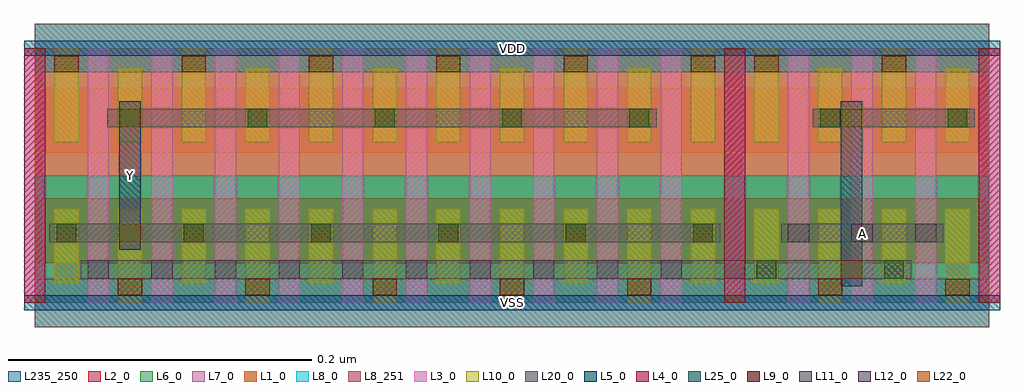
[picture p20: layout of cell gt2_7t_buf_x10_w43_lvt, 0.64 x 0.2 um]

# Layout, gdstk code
import gdstk
lib = gdstk.Library(unit=1e-6, precision=5e-10)
def R(c, l, rs):  # rectangles x0, y0, x1, y1
    for r in rs: c.add(gdstk.rectangle(r[:2], r[2:], *l))
def A(c, l, x, y, w, h, nx, ny, dx, dy):  # array of equal rectangles
    R(c, l, [(x+i*dx, y+j*dy, x+i*dx+w, y+j*dy+h) for i in range(nx) for j in range(ny)])
L1_0 = (1, 0)
L2_0 = (2, 0)
L3_0 = (3, 0)
L4_0 = (4, 0)
L5_0 = (5, 0)
L6_0 = (6, 0)
L7_0 = (7, 0)
L8_0 = (8, 0)
L8_251 = (8, 251)
L9_0 = (9, 0)
L10_0 = (10, 0)
L11_0 = (11, 0)
L12_0 = (12, 0)
L20_0 = (20, 0)
L22_0 = (22, 0)
L25_0 = (25, 0)
L235_250 = (235, 250)

gt2_7t_buf_x10_w43_lvt = lib.new_cell('gt2_7t_buf_x10_w43_lvt')
R(gt2_7t_buf_x10_w43_lvt, L1_0, [(0,0.084,0.63,0.168)])
R(gt2_7t_buf_x10_w43_lvt, L2_0, [(0,0.026,0.63,0.069), (0,0.099,0.63,0.142)])
A(gt2_7t_buf_x10_w43_lvt, L3_0, -0.007, 0, 0.014, 0.168, 16, 1, 0.042, 0)
R(gt2_7t_buf_x10_w43_lvt, L4_0, [(-0.007,0,0.007,0.168), (0.455,0,0.469,0.168), (0.623,0,0.637,0.168)])
R(gt2_7t_buf_x10_w43_lvt, L5_0, [(-0.007,-0.005,0.637,0.005), (-0.007,0.163,0.637,0.173)])
R(gt2_7t_buf_x10_w43_lvt, L6_0, [(0,0,0.63,0.084)])
R(gt2_7t_buf_x10_w43_lvt, L7_0, [(0,0.084,0.63,0.168)])
R(gt2_7t_buf_x10_w43_lvt, L8_0, [(0,-0.016,0.63,0.016), (0,0.152,0.63,0.184)])
R(gt2_7t_buf_x10_w43_lvt, L8_251, [(0,-0.016,0.63,0.016), (0,0.152,0.63,0.184)])
A(gt2_7t_buf_x10_w43_lvt, L9_0, 0.055, 0.005, 0.016, 0.011, 5, 1, 0.084, 0)
A(gt2_7t_buf_x10_w43_lvt, L9_0, 0.013, 0.152, 0.016, 0.011, 6, 1, 0.084, 0)
R(gt2_7t_buf_x10_w43_lvt, L9_0, [(0.517,0.005,0.533,0.016), (0.601,0.005,0.617,0.016), (0.475,0.152,0.491,0.163), (0.559,0.152,0.575,0.163)])
A(gt2_7t_buf_x10_w43_lvt, L10_0, 0.055, 0, 0.016, 0.062, 5, 1, 0.084, 0)
A(gt2_7t_buf_x10_w43_lvt, L10_0, 0.013, 0.013, 0.016, 0.049, 6, 1, 0.084, 0)
A(gt2_7t_buf_x10_w43_lvt, L10_0, 0.013, 0.106, 0.016, 0.062, 6, 1, 0.084, 0)
A(gt2_7t_buf_x10_w43_lvt, L10_0, 0.055, 0.106, 0.016, 0.049, 5, 1, 0.084, 0)
R(gt2_7t_buf_x10_w43_lvt, L10_0, [(0.517,0,0.533,0.062), (0.601,0,0.617,0.062), (0.475,0.013,0.491,0.062), (0.559,0.013,0.575,0.062), (0.475,0.106,0.491,0.168), (0.517,0.106,0.533,0.155), (0.559,0.106,0.575,0.168), (0.601,0.106,0.617,0.155)])
A(gt2_7t_buf_x10_w43_lvt, L11_0, 0.0145, 0.04, 0.013, 0.012, 6, 1, 0.084, 0)
A(gt2_7t_buf_x10_w43_lvt, L11_0, 0.0565, 0.116, 0.013, 0.012, 5, 1, 0.084, 0)
R(gt2_7t_buf_x10_w43_lvt, L11_0, [(0.4765,0.016,0.4895,0.028), (0.5605,0.016,0.5735,0.028), (0.5185,0.116,0.5315,0.128), (0.6025,0.116,0.6155,0.128)])
A(gt2_7t_buf_x10_w43_lvt, L12_0, 0.035, 0.016, 0.014, 0.012, 10, 1, 0.042, 0)
A(gt2_7t_buf_x10_w43_lvt, L12_0, 0.497, 0.04, 0.014, 0.012, 3, 1, 0.042, 0)
R(gt2_7t_buf_x10_w43_lvt, L20_0, [(0.0305,0.016,0.5785,0.028), (0.0095,0.04,0.4525,0.052), (0.4925,0.04,0.5995,0.052), (0.048,0.116,0.4105,0.128), (0.5135,0.116,0.6205,0.128)])
R(gt2_7t_buf_x10_w43_lvt, L22_0, [(0.532,0.016,0.546,0.028), (0.056,0.04,0.07,0.052), (0.056,0.116,0.07,0.128), (0.532,0.116,0.546,0.128)])
R(gt2_7t_buf_x10_w43_lvt, L25_0, [(0.532,0.011,0.546,0.133), (0.056,0.035,0.07,0.133)])
R(gt2_7t_buf_x10_w43_lvt, L235_250, [(0,0,0.63,0.168)])
gt2_7t_buf_x10_w43_lvt.add(gdstk.Label('VSS', (0.315,0), layer=8, texttype=251))
gt2_7t_buf_x10_w43_lvt.add(gdstk.Label('VDD', (0.315,0.168), layer=8, texttype=251))
gt2_7t_buf_x10_w43_lvt.add(gdstk.Label('A', (0.546,0.046), layer=20, texttype=251))
gt2_7t_buf_x10_w43_lvt.add(gdstk.Label('Y', (0.063,0.084), layer=25, texttype=251))

lib.write_gds('gt2_7t_buf_x10_w43_lvt.gds')
